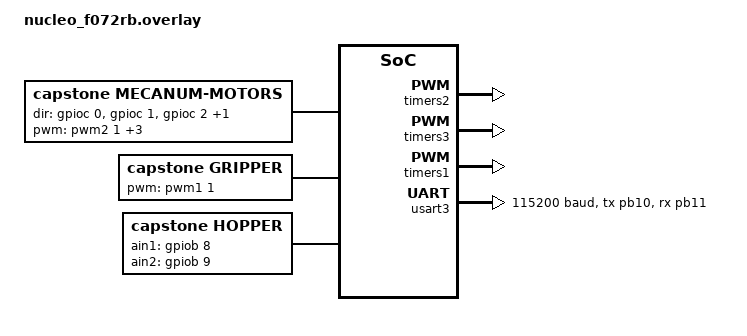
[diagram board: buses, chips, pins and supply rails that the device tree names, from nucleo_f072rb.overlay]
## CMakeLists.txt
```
cmake_minimum_required(VERSION 3.20.0)
list(APPEND DTS_ROOT ${CMAKE_CURRENT_SOURCE_DIR})
find_package(Zephyr REQUIRED HINTS $ENV{ZEPHYR_BASE})
project(capstone)
target_include_directories(app PRIVATE inc)
target_sources(app PRIVATE
 src/main.c
 src/comms.c
 src/motors.c
 src/gripper.c
 src/hopper.c
 src/servo.c
)
```

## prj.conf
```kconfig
CONFIG_SERIAL=y
CONFIG_GPIO=y
CONFIG_PWM=y
CONFIG_CONSOLE=y
CONFIG_UART_CONSOLE=y
CONFIG_UART_INTERRUPT_DRIVEN=y
CONFIG_RING_BUFFER=y
```

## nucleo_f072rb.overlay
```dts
/*
 * nucleo-f072rb: mecanum drive + gripper + hopper + arm bus
 *
 *   pwm (speed)                     dir
 *   PA0  TIM2_CH1  front-left       PC0  front-left
 *   PA1  TIM2_CH2  front-right      PC1  front-right
 *   PB0  TIM3_CH3  back-left        PC2  back-left
 *   PB1  TIM3_CH4  back-right       PC3  back-right
 *   PA8  TIM1_CH1  gripper servo
 *   PB8/PB9        hopper dir (TB6612FNG ain1/ain2)
 *   PB10/PB11      usart3 -> arm servo bus
 *
 * note: f0 has no TIM4 and PB7 has no normal pwm channel, so back-right is on
 * PB1/TIM3_CH4 (not PB7) — different from the L476/G474 versions.
 * 48 MHz core, prescaler 0 = full timer clock (20 kHz pwm = ~2400 counts).
 * board leaves these timers disabled/unlabeled, so they're set up here.
 */

#include <zephyr/dt-bindings/pwm/pwm.h>
#include <zephyr/dt-bindings/gpio/gpio.h>

&timers2 {
	st,prescaler = <0>;
	status = "okay";

	pwm2: pwm {
		status = "okay";
		pinctrl-0 = <&tim2_ch1_pa0 &tim2_ch2_pa1>;   // PA0 FL, PA1 FR
		pinctrl-names = "default";
	};
};

&timers3 {
	st,prescaler = <0>;
	status = "okay";

	pwm3: pwm {
		status = "okay";
		pinctrl-0 = <&tim3_ch3_pb0 &tim3_ch4_pb1>;   // PB0 RL, PB1 RR
		pinctrl-names = "default";
	};
};

&timers1 {
	// 16-bit timer. /48 -> 1 MHz tick, so a 20 ms servo frame = 20000 counts
	st,prescaler = <47>;
	status = "okay";

	pwm1: pwm {
		status = "okay";
		pinctrl-0 = <&tim1_ch1_pa8>;                 // PA8 gripper
		pinctrl-names = "default";
	};
};

&usart3 {
	// arm servo bus. PB10 tx / PB11 rx tied together (1k on tx) for half-duplex
	pinctrl-0 = <&usart3_tx_pb10 &usart3_rx_pb11>;
	pinctrl-names = "default";
	current-speed = <115200>;
	status = "okay";
};

/ {
	motors: motors {
		compatible = "capstone,mecanum-motors";
		// FL, FR, RL, RR
		pwms = <&pwm2 1 PWM_USEC(50) PWM_POLARITY_NORMAL>,
		       <&pwm2 2 PWM_USEC(50) PWM_POLARITY_NORMAL>,
		       <&pwm3 3 PWM_USEC(50) PWM_POLARITY_NORMAL>,
		       <&pwm3 4 PWM_USEC(50) PWM_POLARITY_NORMAL>;

		dir-gpios = <&gpioc 0 GPIO_ACTIVE_HIGH>,
			    <&gpioc 1 GPIO_ACTIVE_HIGH>,
			    <&gpioc 2 GPIO_ACTIVE_HIGH>,
			    <&gpioc 3 GPIO_ACTIVE_HIGH>;
	};

	gripper: gripper {
		compatible = "capstone,gripper";
		pwms = <&pwm1 1 PWM_USEC(20000) PWM_POLARITY_NORMAL>;   // 50 Hz frame
	};

	hopper: hopper {
		compatible = "capstone,hopper";
		// TB6612FNG channel A (PWMA + STBY tied high)
		ain1-gpios = <&gpiob 8 GPIO_ACTIVE_HIGH>;
		ain2-gpios = <&gpiob 9 GPIO_ACTIVE_HIGH>;
	};
};
```

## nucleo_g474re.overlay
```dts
/*
 * Mecanum drivetrain + gripper overlay for the Nucleo-G474RE.
 * Identical pin/timer mapping to the L476 version; only the TIM1 servo
 * prescaler differs because the G474 core runs at 170 MHz (vs 80 MHz).
 *
 *   PWM (speed)                         DIR (direction)
 *   ------------------------------      ----------------
 *   PA0  TIM2_CH1   front-left          PC0  front-left
 *   PA1  TIM2_CH2   front-right         PC1  front-right
 *   PB0  TIM3_CH3   back-left           PC2  back-left
 *   PB7  TIM4_CH2   back-right          PC3  back-right
 *   PA8  TIM1_CH1   gripper servo
 *
 * st,prescaler = 0 keeps the full 170 MHz timer clock; at the 20 kHz (50 us)
 * motor PWM period that is 8500 counts — well within the 16-bit timers.
 */

#include <zephyr/dt-bindings/pwm/pwm.h>
#include <zephyr/dt-bindings/gpio/gpio.h>

&timers2 {
	st,prescaler = <0>;
	status = "okay";

	pwm {
		status = "okay";
		/* CH1 = PA0 (front-left), CH2 = PA1 (front-right) */
		pinctrl-0 = <&tim2_ch1_pa0 &tim2_ch2_pa1>;
		pinctrl-names = "default";
	};
};

&timers3 {
	/* board default sets st,prescaler = 10000 — override for 20 kHz PWM */
	st,prescaler = <0>;
	status = "okay";

	pwm {
		status = "okay";
		/* CH3 = PB0 (back-left) */
		pinctrl-0 = <&tim3_ch3_pb0>;
		pinctrl-names = "default";
	};
};

&timers4 {
	st,prescaler = <0>;
	status = "okay";

	/* timers4 isn't enabled in the board dts, so its pwm child has no
	 * label yet — add one so &pwm4 can be referenced below. */
	pwm4: pwm {
		status = "okay";
		/* CH2 = PB7 (back-right) */
		pinctrl-0 = <&tim4_ch2_pb7>;
		pinctrl-names = "default";
	};
};

&timers1 {
	/* TIM1 is a 16-bit timer. At 170 MHz a /170 prescaler gives a 1 MHz
	 * tick, so a 20 ms (50 Hz) servo frame is 20000 counts — fits the
	 * counter and gives 1 us pulse resolution. */
	st,prescaler = <169>;
	status = "okay";

	pwm1: pwm {
		status = "okay";
		/* CH1 = PA8 (gripper servo) */
		pinctrl-0 = <&tim1_ch1_pa8>;
		pinctrl-names = "default";
	};
};

/ {
	motors: motors {
		compatible = "capstone,mecanum-motors";
		/* Order: FL, FR, RL, RR. <&controller channel period flags> */
		pwms = <&pwm2 1 PWM_USEC(50) PWM_POLARITY_NORMAL>,  /* FL  PA0 */
		       <&pwm2 2 PWM_USEC(50) PWM_POLARITY_NORMAL>,  /* FR  PA1 */
		       <&pwm3 3 PWM_USEC(50) PWM_POLARITY_NORMAL>,  /* RL  PB0 */
		       <&pwm4 2 PWM_USEC(50) PWM_POLARITY_NORMAL>;  /* RR  PB7 */

		dir-gpios = <&gpioc 0 GPIO_ACTIVE_HIGH>,  /* FL  PC0 */
			    <&gpioc 1 GPIO_ACTIVE_HIGH>,  /* FR  PC1 */
			    <&gpioc 2 GPIO_ACTIVE_HIGH>,  /* RL  PC2 */
			    <&gpioc 3 GPIO_ACTIVE_HIGH>;  /* RR  PC3 */
	};

	gripper: gripper {
		compatible = "capstone,gripper";
		/* PA8 TIM1_CH1, 20 ms (50 Hz) servo frame. */
		pwms = <&pwm1 1 PWM_USEC(20000) PWM_POLARITY_NORMAL>;
	};
};
```

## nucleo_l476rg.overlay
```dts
/*
 * Mecanum drivetrain overlay — 4 motors, 2x Cytron MDD10A (sign-magnitude).
 *
 *   PWM (speed)                         DIR (direction)
 *   ------------------------------      ----------------
 *   PA0  TIM2_CH1   front-left          PC0  front-left
 *   PA1  TIM2_CH2   front-right         PC1  front-right
 *   PB0  TIM3_CH3   back-left           PC2  back-left
 *   PB7  TIM4_CH2   back-right          PC3  back-right
 *
 * st,prescaler = 0 keeps the full 80 MHz timer clock, giving ~4000 counts of
 * resolution at the 20 kHz (50 us) PWM period used below.
 */

#include <zephyr/dt-bindings/pwm/pwm.h>
#include <zephyr/dt-bindings/gpio/gpio.h>

&timers2 {
	st,prescaler = <0>;
	status = "okay";

	pwm {
		status = "okay";
		/* CH1 = PA0 (front-left), CH2 = PA1 (front-right) */
		pinctrl-0 = <&tim2_ch1_pa0 &tim2_ch2_pa1>;
		pinctrl-names = "default";
	};
};

&timers3 {
	/* board default sets st,prescaler = 10000 — override for 20 kHz PWM */
	st,prescaler = <0>;
	status = "okay";

	pwm {
		status = "okay";
		/* CH3 = PB0 (back-left) */
		pinctrl-0 = <&tim3_ch3_pb0>;
		pinctrl-names = "default";
	};
};

&timers4 {
	st,prescaler = <0>;
	status = "okay";

	/* timers4 isn't enabled in the board dts, so its pwm child has no
	 * label yet — add one so &pwm4 can be referenced below. */
	pwm4: pwm {
		status = "okay";
		/* CH2 = PB7 (back-right) */
		pinctrl-0 = <&tim4_ch2_pb7>;
		pinctrl-names = "default";
	};
};

&timers1 {
	/* TIM1 is a 16-bit timer. A /80 prescaler gives a 1 MHz tick, so a
	 * 20 ms (50 Hz) servo frame is 20000 counts — fits the counter and
	 * gives 1 us pulse resolution. */
	st,prescaler = <79>;
	status = "okay";

	pwm1: pwm {
		status = "okay";
		/* CH1 = PA8 (gripper servo) */
		pinctrl-0 = <&tim1_ch1_pa8>;
		pinctrl-names = "default";
	};
};

/ {
	motors: motors {
		compatible = "capstone,mecanum-motors";
		/* Order: FL, FR, RL, RR. <&controller channel period flags> */
		pwms = <&pwm2 1 PWM_USEC(50) PWM_POLARITY_NORMAL>,  /* FL  PA0 */
		       <&pwm2 2 PWM_USEC(50) PWM_POLARITY_NORMAL>,  /* FR  PA1 */
		       <&pwm3 3 PWM_USEC(50) PWM_POLARITY_NORMAL>,  /* RL  PB0 */
		       <&pwm4 2 PWM_USEC(50) PWM_POLARITY_NORMAL>;  /* RR  PB7 */

		dir-gpios = <&gpioc 0 GPIO_ACTIVE_HIGH>,  /* FL  PC0 */
			    <&gpioc 1 GPIO_ACTIVE_HIGH>,  /* FR  PC1 */
			    <&gpioc 2 GPIO_ACTIVE_HIGH>,  /* RL  PC2 */
			    <&gpioc 3 GPIO_ACTIVE_HIGH>;  /* RR  PC3 */
	};

	gripper: gripper {
		compatible = "capstone,gripper";
		/* PA8 TIM1_CH1, 20 ms (50 Hz) servo frame. */
		pwms = <&pwm1 1 PWM_USEC(20000) PWM_POLARITY_NORMAL>;
	};
};
```

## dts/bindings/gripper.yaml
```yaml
description: gripper servo on a single pwm channel

compatible: "capstone,gripper"

properties:
  pwms:
    type: phandle-array
    required: true
    description: servo signal pwm
```

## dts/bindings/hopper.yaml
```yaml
description: linear actuator (hopper) on a TB6612FNG, PWMA + STBY tied high

compatible: "capstone,hopper"

properties:
  ain1-gpios:
    type: phandle-array
    required: true
    description: TB6612FNG ain1 direction input
  ain2-gpios:
    type: phandle-array
    required: true
    description: TB6612FNG ain2 direction input
```

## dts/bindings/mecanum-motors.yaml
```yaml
description: mecanum drivetrain — 4 wheel pwm channels + dir gpios, FL FR RL RR order

compatible: "capstone,mecanum-motors"

properties:
  pwms:
    type: phandle-array
    required: true
    description: speed pwm per wheel (FL, FR, RL, RR)
  dir-gpios:
    type: phandle-array
    required: true
    description: direction gpio per wheel (FL, FR, RL, RR)
```

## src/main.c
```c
#include <zephyr/kernel.h>
#include <zephyr/drivers/uart.h>
#include <zephyr/device.h>
#include <math.h>
#include <stdlib.h>
#include "comms.h"
#include "motors.h"
#include "gripper.h"
#include "hopper.h"
#include "servo.h"

// pick a test mode (or TEST_NONE for normal uart operation)
#define TEST_NONE     0   // uart-driven
#define TEST_DRIVE    1   // mecanum demo
#define TEST_GRIPPER  2   // gripper open/close
#define TEST_HOPPER   3   // actuator extend/retract
#define TEST_ARM      4   // interactive: set arm angles over serial
#define TEST_SET_ID   5   // assign an id to a single connected servo
#define TEST_SWAP_ID  6   // swap two ids on the chain
#define TEST_DEMO     7   // full pick-and-drop + hopper routine

#define TEST_MODE     TEST_NONE

// TEST_SET_ID: id to assign. connect exactly one servo, flash, repeat per servo
#define SET_ID_TARGET  SERVO_ID_WRIST

// TEST_SWAP_ID: swap these two, routed through a temp id so no collision
#define SWAP_ID_A      SERVO_ID_ELBOW
#define SWAP_ID_B      SERVO_ID_WRIST
#define SWAP_ID_TEMP   10

#define DRIVE_SPEED            100    // TEST_DRIVE wheel speed 0..100
#define HOPPER_TEST_TRAVEL_MS 3000    // hopper drive time per direction
#define HOPPER_TEST_PAUSE_MS  2000

#if TEST_MODE == TEST_DRIVE

int main(void)
{
    if (motors_init() != 0) {
        printk("motors_init failed\n");
        return 0;
    }

    printk("drive: backward 2s\n");
    mecanum_drive(-DRIVE_SPEED, 0, 0);
    k_msleep(2000);
    motor_stop_all();
    return 0;
}

#elif TEST_MODE == TEST_GRIPPER

#define OPEN_POSITION 10   // open
#define GRAB_POSITION 30   // grab (closed)

int main(void)
{
    if (gripper_init() != 0) {
        printk("gripper_init failed\n");
        return 0;
    }

    printk("gripper: open\n");
    gripper_set(OPEN_POSITION);
    k_msleep(1500);

    printk("gripper: grab at %d\n", GRAB_POSITION);
    gripper_set(GRAB_POSITION);
    return 0;
}

#elif TEST_MODE == TEST_HOPPER

int main(void)
{
    if (hopper_init() != 0) {
        printk("hopper_init failed\n");
        return 0;
    }

    printk("hopper: lower (retract)\n");
    hopper_retract();
    k_msleep(HOPPER_TEST_TRAVEL_MS);
    hopper_stop();
    return 0;
}

#elif TEST_MODE == TEST_ARM

// interactive arm angle setter over the serial console. starts all three at
// center (120), then type "<id 1-3> <deg>" (e.g. "2 124.5") to move one joint,
// or "c" to recenter. moves are slow so a fat-finger won't slam the arm.
static const struct device *const cons = DEVICE_DT_GET(DT_CHOSEN(zephyr_console));

#define SET_MOVE_MS 800

static void read_line(char *buf, int max)
{
    int i = 0;
    while (1) {
        uint8_t c;
        if (uart_poll_in(cons, &c) == 0) {
            if (c == '\r' || c == '\n') {
                if (i > 0) { buf[i] = '\0'; return; }
            } else if ((c == 0x08 || c == 0x7f) && i > 0) {
                i--;                          // backspace
            } else if (i < max - 1) {
                buf[i++] = c;
            }
        } else {
            k_msleep(2);
        }
    }
}

static void arm_goto(uint8_t id, float deg)
{
    servo_move(id, deg, SET_MOVE_MS);
    int t = (int)(deg * 10.0f);              // %f isn't enabled
    printk("servo %u -> %d.%d deg\n", id, t / 10, (t < 0 ? -t : t) % 10);
}

int main(void)
{
    if (servo_init() != 0) {
        printk("servo_init failed\n");
        return 0;
    }

    servo_set_torque(SERVO_ID_SHOULDER, true);
    servo_set_torque(SERVO_ID_ELBOW, true);
    servo_set_torque(SERVO_ID_WRIST, true);

    arm_goto(SERVO_ID_SHOULDER, 120.0f);     // start from center
    arm_goto(SERVO_ID_ELBOW,    120.0f);
    arm_goto(SERVO_ID_WRIST,    120.0f);

    printk("\narm angle setter — type \"<id 1-3> <deg>\" (e.g. \"2 124.5\"), or \"c\" to center\n");

    char line[32];
    while (1) {
        read_line(line, sizeof(line));

        if (line[0] == 'c') {
            arm_goto(SERVO_ID_SHOULDER, 120.0f);
            arm_goto(SERVO_ID_ELBOW,    120.0f);
            arm_goto(SERVO_ID_WRIST,    120.0f);
            continue;
        }

        char *end;
        long id = strtol(line, &end, 10);
        if (end == line || id < 1 || id > 3) {
            printk("? use \"<id 1-3> <deg>\" or \"c\"\n");
            continue;
        }
        arm_goto((uint8_t)id, (float)strtod(end, NULL));
    }
}

#elif TEST_MODE == TEST_SET_ID

int main(void)
{
    if (servo_init() != 0) {
        printk("servo_init failed\n");
        return 0;
    }

    printk("\n=== set servo id -> %d (one servo connected) ===\n", SET_ID_TARGET);

    // broadcast works at any current id, but hits every servo — hence one at a time
    servo_set_id(SERVO_ID_BROADCAST, SET_ID_TARGET);
    k_msleep(100);

    // confirm it answers at the new id
    float deg = servo_read_pos(SET_ID_TARGET);
    if (isnan(deg)) {
        printk("readback failed at id %d — exactly one servo connected?\n",
               SET_ID_TARGET);
    } else {
        printk("ok: servo answers at id %d (%d deg)\n", SET_ID_TARGET, (int)deg);
    }

    while (1) {
        k_msleep(1000);
    }
}

#elif TEST_MODE == TEST_SWAP_ID

int main(void)
{
    if (servo_init() != 0) {
        printk("servo_init failed\n");
        return 0;
    }

    printk("\n=== swap servo ids %d <-> %d ===\n", SWAP_ID_A, SWAP_ID_B);

    // route through a temp id so no two servos ever share an address
    servo_set_id(SWAP_ID_A, SWAP_ID_TEMP);
    k_msleep(100);
    servo_set_id(SWAP_ID_B, SWAP_ID_A);
    k_msleep(100);
    servo_set_id(SWAP_ID_TEMP, SWAP_ID_B);
    k_msleep(100);

    printk("id %d: %s\n", SWAP_ID_A,
           isnan(servo_read_pos(SWAP_ID_A)) ? "no response" : "ok");
    printk("id %d: %s\n", SWAP_ID_B,
           isnan(servo_read_pos(SWAP_ID_B)) ? "no response" : "ok");

    while (1) {
        k_msleep(1000);
    }
}

#elif TEST_MODE == TEST_DEMO

// drive demo — the arm is never touched. strafe out and back to center in all
// 8 directions, tip the hopper, cycle the gripper, then a rotate flourish.
#define DEMO_SPEED       100
#define OUT_MS           800     // strafe out (and back) duration
#define GRIP_OPEN        10
#define GRIP_CLOSED      30
#define GRIP_MS          800
#define SPIN_MS_PER_DEG  25      // at DEMO_SPEED 100 (180 deg = 4500 ms)

// arm start pose — set once, then left untouched. shoulder/elbow/wrist
#define ARM_S  130.0f
#define ARM_E  200.0f
#define ARM_W   90.0f

// drive a vector out for OUT_MS, then the reverse to return to center
static void out_back(int vx, int vy)
{
    mecanum_drive(vx, vy, 0);
    k_msleep(OUT_MS);
    motor_stop_all();
    k_msleep(400);
    mecanum_drive(-vx, -vy, 0);
    k_msleep(OUT_MS);
    motor_stop_all();
    k_msleep(600);
}

// spin in place: dir +1 = ccw, -1 = cw
static void spin_deg(int dir, int deg)
{
    mecanum_drive(0, 0, dir * DEMO_SPEED);
    k_msleep(deg * SPIN_MS_PER_DEG);
    motor_stop_all();
    k_msleep(400);
}

int main(void)
{
    motors_init();
    gripper_init();
    hopper_init();

    const int S = DEMO_SPEED;

    printk("\n=== drive demo ===\n");

    // set the arm to its start pose (then leave it), and close the hopper
    printk("reset: arm + hopper\n");
    servo_init();
    servo_set_torque(SERVO_ID_SHOULDER, true);
    servo_set_torque(SERVO_ID_ELBOW, true);
    servo_set_torque(SERVO_ID_WRIST, true);
    hopper_retract();                       // close the hopper while the arm moves
    servo_move(SERVO_ID_SHOULDER, ARM_S, 1500);
    servo_move(SERVO_ID_ELBOW,    ARM_E, 1500);
    servo_move(SERVO_ID_WRIST,    ARM_W, 1500);
    k_msleep(2000);
    hopper_stop();

    // hold before the demo begins
    printk("starting in 5s...\n");
    k_msleep(5000);

    // 8 directions, each out then back to center
    printk("forward\n");    out_back( S,  0);
    printk("backward\n");   out_back(-S,  0);
    printk("left\n");       out_back( 0,  S);
    printk("right\n");      out_back( 0, -S);
    printk("fwd-left\n");   out_back( S,  S);
    printk("fwd-right\n");  out_back( S, -S);
    printk("back-left\n");  out_back(-S,  S);
    printk("back-right\n"); out_back(-S, -S);

    // tip the hopper, then bring it back
    printk("tip hopper\n");
    hopper_extend();
    k_msleep(HOPPER_TEST_TRAVEL_MS);
    hopper_stop();
    k_msleep(HOPPER_TEST_PAUSE_MS);
    hopper_retract();
    k_msleep(HOPPER_TEST_TRAVEL_MS);
    hopper_stop();
    k_msleep(HOPPER_TEST_PAUSE_MS);

    // open and close the gripper
    printk("gripper open\n");
    gripper_set(GRIP_OPEN);
    k_msleep(GRIP_MS + 600);
    printk("gripper close\n");
    gripper_set(GRIP_CLOSED);
    k_msleep(GRIP_MS + 600);

    // rotate: cw 30, ccw 60, cw 30 -> back to center
    printk("rotate cw 30\n");   spin_deg(-1, 30);
    printk("rotate ccw 60\n");  spin_deg(+1, 60);
    printk("rotate cw 30\n");   spin_deg(-1, 30);

    printk("--- demo complete ---\n");
    return 0;
}

#else  // TEST_NONE — normal uart operation

int main(void)
{
    motors_init();
    gripper_init();
    hopper_init();
    servo_init();
    uart_init();

    printk("\n=== uart command mode ===\n");

    while (1) {
        uart_tick();
        hopper_tick();
        k_msleep(1);
    }
}

#endif
```

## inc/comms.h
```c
#ifndef COMMS_H
#define COMMS_H
#define DRIVE_WATCHDOG_MS 500u

void uart_init(void);
void uart_tick(void);


#endif /* COMMS_H */
```

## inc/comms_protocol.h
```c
#ifndef COMMS_PROTOCOL_H
#define COMMS_PROTOCOL_H

#include <stdint.h>

// uart frame: [0xAA][0x55][cmd][len][payload... len bytes][chk]
// chk = xor of cmd, len, and every payload byte. multi-byte fields little-endian

#define PKT_HEADER_0  0xAAu
#define PKT_HEADER_1  0x55u

// jetson -> stm32
#define CMD_DRIVE     0x01u   // 8B: 4x int16 wheel speed FL FR RL RR, +/-1000
#define CMD_GRIPPER   0x03u   // 1B: position 0..100
#define CMD_HOPPER    0x04u   // 1B: 0 stop / 1 extend / 2 retract
#define CMD_ARM       0x05u   // 8B: 3x int16 angle (tenths-deg) + uint16 time_ms

// stm32 -> jetson
#define CMD_ODOM      0x02u   // 16B: 4x int32 encoder ticks

#define DRIVE_PAYLOAD_LEN    8u
#define GRIPPER_PAYLOAD_LEN  1u
#define HOPPER_PAYLOAD_LEN   1u
#define ARM_PAYLOAD_LEN      8u
#define ODOM_PAYLOAD_LEN     16u

#define RX_MAX_PAYLOAD       16u
#define ODOM_PKT_LEN         (2u + 1u + 1u + ODOM_PAYLOAD_LEN + 1u)   // 21

// hopper actions
#define HOPPER_ACT_STOP     0u
#define HOPPER_ACT_EXTEND   1u
#define HOPPER_ACT_RETRACT  2u

// drive speed is +/-1000 on the wire, +/-100 in the firmware
#define DRIVE_SPEED_FULL    1000

#endif /* COMMS_PROTOCOL_H */
```

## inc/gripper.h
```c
#ifndef GRIPPER_H
#define GRIPPER_H

// configure the servo pwm, leave it idle. 0 ok, <0 errno
int gripper_init(void);

// position 0..100, lower = more open. clamped to the calibrated travel band
void gripper_set(int position);

// sweep open <-> closed within the limits. call in a loop
void gripper_test(void);

#endif /* GRIPPER_H */
```

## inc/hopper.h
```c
#ifndef HOPPER_H
#define HOPPER_H

// linear actuator (hopper) on one channel of a TB6612FNG. PA-MC1, 12V, full
// voltage only (no pwm), internal limit switches so no stall. PWMA + STBY tied
// high, only AIN1/AIN2 driven. no feedback, so a move runs for a fixed timeout
// then the pins are released — extend/retract arm it, hopper_tick enforces it

int hopper_init(void);      // configure dir pins, leave stopped. 0 ok, <0 errno

void hopper_extend(void);   // ain1 high, ain2 low
void hopper_retract(void);  // ain1 low,  ain2 high
void hopper_stop(void);     // both low

void hopper_tick(void);     // call periodically to enforce the move timeout

#endif /* HOPPER_H */
```

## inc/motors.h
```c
#ifndef MOTORS_H
#define MOTORS_H

#include <stdint.h>

// wheel order matches the comms protocol: 0=FL, 1=FR, 2=RL, 3=RR
typedef enum {
    MOTOR_FL = 0,
    MOTOR_FR = 1,
    MOTOR_RL = 2,
    MOTOR_RR = 3,
    MOTOR_COUNT = 4,
} motor_id_t;

// configure pwm + dir pins, leave all stopped. 0 ok, <0 errno
int motors_init(void);

// sign-magnitude: speed -100..100, sign -> dir pin, magnitude -> duty. clamped
void motor_set(motor_id_t motor, int speed);

void motor_set_all(int fl, int fr, int rl, int rr);
void motor_stop_all(void);

// mecanum inverse kinematics. vx fwd, vy strafe-left, omega ccw, all -100..100.
// scaled down proportionally if any wheel would exceed full scale
void mecanum_drive(int vx, int vy, int omega);

#endif /* MOTORS_H */
```

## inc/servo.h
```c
#ifndef SERVO_H
#define SERVO_H

#include <stdint.h>
#include <stdbool.h>

// hiwonder HTD-45H bus servos, daisy-chained on usart3 (half-duplex, 115200).
// the three arm joints (planar arm: shoulder -> elbow -> wrist):
#define SERVO_ID_SHOULDER  1
#define SERVO_ID_ELBOW     2
#define SERVO_ID_WRIST     3

// broadcast: every servo obeys, none reply. only use with one servo connected
#define SERVO_ID_BROADCAST 0xFEu

int servo_init(void);   // bring up the bus uart (irq rx). 0 ok, <0 errno

// build + send: 0x55 0x55 id len cmd params... checksum. handles checksum and
// swallows the tx echo. params may be NULL when param_len is 0
void servo_send(uint8_t id, uint8_t cmd, uint8_t *params, uint8_t param_len);

void  servo_move(uint8_t id, float angle_deg, uint16_t time_ms);       // cmd 1
void  servo_move_wait(uint8_t id, float angle_deg, uint16_t time_ms);  // cmd 7
void  servo_move_start(uint8_t id);                                    // cmd 11
void  servo_stop(uint8_t id);                                          // cmd 12
void  servo_set_torque(uint8_t id, bool enable);                       // cmd 31
void  servo_set_id(uint8_t id, uint8_t new_id);                        // cmd 13

// degrees, can be negative. NAN on no/bad response. cmd 28
float servo_read_pos(uint8_t id);

#endif /* SERVO_H */
```

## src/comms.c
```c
#include "comms.h"
#include "comms_protocol.h"
#include "motors.h"
#include "gripper.h"
#include "hopper.h"
#include "servo.h"
#include <zephyr/drivers/uart.h>
#include <zephyr/device.h>
#include <zephyr/kernel.h>
#include <string.h>

typedef enum {
    RX_WAIT_H0,
    RX_WAIT_H1,
    RX_WAIT_CMD,
    RX_WAIT_LEN,
    RX_RECV_DATA,
    RX_WAIT_CHK,
} RxState;

static const struct device *uart_dev;

static RxState rx_state = RX_WAIT_H0;
static uint8_t rx_cmd;
static uint8_t rx_len;
static uint8_t rx_buf[RX_MAX_PAYLOAD];
static uint8_t rx_idx;

// the isr only parses framing. a finished packet is stashed here and applied
// in uart_tick (thread context) — the arm servo bus does blocking uart i/o
// that must not run in an isr
static volatile bool pkt_ready;
static uint8_t pkt_cmd;
static uint8_t pkt_len;
static uint8_t pkt_buf[RX_MAX_PAYLOAD];

static uint32_t last_drive_ms;
static uint32_t last_odom_ms;

// status / debug (console = usart2 / st-link vcp)
static volatile uint32_t dbg_rx_bytes;
static volatile uint32_t dbg_pkt_ok;
static volatile uint32_t dbg_pkt_bad;
static uint32_t last_dbg_ms;
static int      last_drive[4];      // last wheel cmd, for change-only logging
static bool     link_lost = true;   // drive watchdog state (start stopped)

static void uart_rx_callback(const struct device *dev, void *user_data);
static void uart_output(void);

static bool cmd_known(uint8_t cmd)
{
    return cmd == CMD_DRIVE || cmd == CMD_GRIPPER ||
           cmd == CMD_HOPPER || cmd == CMD_ARM;
}

void uart_init(void)
{
    uart_dev = DEVICE_DT_GET(DT_NODELABEL(usart1));
    if (!device_is_ready(uart_dev)) {
        return;
    }
    uart_irq_callback_user_data_set(uart_dev, uart_rx_callback, NULL);
    uart_irq_rx_enable(uart_dev);
}

// isr: parse framing only, hand a finished packet to uart_tick
static void uart_rx_callback(const struct device *dev, void *user_data)
{
    if (!uart_irq_update(dev)) return;
    if (!uart_irq_rx_ready(dev)) return;

    uint8_t b;
    uart_fifo_read(dev, &b, 1);
    dbg_rx_bytes++;

    switch (rx_state) {
    case RX_WAIT_H0:
        if (b == PKT_HEADER_0) rx_state = RX_WAIT_H1;
        break;

    case RX_WAIT_H1:
        rx_state = (b == PKT_HEADER_1) ? RX_WAIT_CMD : RX_WAIT_H0;
        break;

    case RX_WAIT_CMD:
        if (cmd_known(b)) {
            rx_cmd = b;
            rx_state = RX_WAIT_LEN;
        } else {
            rx_state = RX_WAIT_H0;
        }
        break;

    case RX_WAIT_LEN:
        if (b > RX_MAX_PAYLOAD) {
            rx_state = RX_WAIT_H0;
        } else {
            rx_len = b;
            rx_idx = 0;
            rx_state = (b == 0) ? RX_WAIT_CHK : RX_RECV_DATA;
        }
        break;

    case RX_RECV_DATA:
        rx_buf[rx_idx++] = b;
        if (rx_idx >= rx_len) rx_state = RX_WAIT_CHK;
        break;

    case RX_WAIT_CHK: {
        uint8_t chk = rx_cmd ^ rx_len;
        for (uint8_t i = 0; i < rx_len; i++) chk ^= rx_buf[i];
        if (chk == b) {
            dbg_pkt_ok++;
            if (!pkt_ready) {           // drop if the last packet isn't consumed
                pkt_cmd = rx_cmd;
                pkt_len = rx_len;
                memcpy(pkt_buf, rx_buf, rx_len);
                pkt_ready = true;
            }
        } else {
            dbg_pkt_bad++;
        }
        rx_state = RX_WAIT_H0;
        break;
    }
    }
}

static int16_t le16(const uint8_t *p)
{
    return (int16_t)((uint16_t)p[0] | ((uint16_t)p[1] << 8));
}

static uint16_t leu16(const uint8_t *p)
{
    return (uint16_t)p[0] | ((uint16_t)p[1] << 8);
}

// thread context (called from uart_tick) — blocking calls are fine here
static void apply_packet(uint8_t cmd, const uint8_t *p, uint8_t len)
{
    switch (cmd) {
    case CMD_DRIVE: {
        if (len != DRIVE_PAYLOAD_LEN) break;
        int w[4] = { le16(p) / 10, le16(p + 2) / 10,        // +/-1000 -> +/-100
                     le16(p + 4) / 10, le16(p + 6) / 10 };
        motor_set_all(w[0], w[1], w[2], w[3]);
        last_drive_ms = k_uptime_get_32();
        if (link_lost) {
            link_lost = false;
            printk("[comms] drive link up\n");
        }
        // log only when the command changes (the jetson streams at 20 Hz)
        if (memcmp(w, last_drive, sizeof(w)) != 0) {
            memcpy(last_drive, w, sizeof(w));
            if (!w[0] && !w[1] && !w[2] && !w[3]) {
                printk("[comms] drive  stop\n");
            } else {
                printk("[comms] drive  FL=%d FR=%d RL=%d RR=%d\n",
                       w[0], w[1], w[2], w[3]);
            }
        }
        break;
    }

    case CMD_GRIPPER:
        if (len != GRIPPER_PAYLOAD_LEN) break;
        gripper_set(p[0]);
        printk("[comms] gripper -> %u  (%s)\n", p[0],
               p[0] <= 15 ? "open" : "close");
        break;

    case CMD_HOPPER:
        if (len != HOPPER_PAYLOAD_LEN) break;
        if (p[0] == HOPPER_ACT_EXTEND)       { hopper_extend();  printk("[comms] hopper -> extend\n"); }
        else if (p[0] == HOPPER_ACT_RETRACT) { hopper_retract(); printk("[comms] hopper -> retract\n"); }
        else                                 { hopper_stop();    printk("[comms] hopper -> stop\n"); }
        break;

    case CMD_ARM: {
        if (len != ARM_PAYLOAD_LEN) break;
        uint16_t t = leu16(p + 6);
        int s = le16(p), e = le16(p + 2), w = le16(p + 4);   // tenths of a degree
        servo_move(SERVO_ID_SHOULDER, s / 10.0f, t);
        servo_move(SERVO_ID_ELBOW,    e / 10.0f, t);
        servo_move(SERVO_ID_WRIST,    w / 10.0f, t);
        printk("[comms] arm -> shoulder=%d elbow=%d wrist=%d deg  (%ums)\n",
               s / 10, e / 10, w / 10, t);
        break;
    }
    }
}

static void uart_output(void)
{
    uint8_t pkt[ODOM_PKT_LEN];
    pkt[0] = PKT_HEADER_0;
    pkt[1] = PKT_HEADER_1;
    pkt[2] = CMD_ODOM;
    pkt[3] = ODOM_PAYLOAD_LEN;

    int32_t counts[4] = {0, 0, 0, 0};   // placeholder until encoders are wired
    memcpy(&pkt[4], counts, ODOM_PAYLOAD_LEN);

    uint8_t chk = CMD_ODOM ^ ODOM_PAYLOAD_LEN;
    for (uint8_t i = 0; i < ODOM_PAYLOAD_LEN; i++) chk ^= pkt[4 + i];
    pkt[ODOM_PKT_LEN - 1] = chk;

    for (int i = 0; i < ODOM_PKT_LEN; i++) {
        uart_poll_out(uart_dev, pkt[i]);
    }
}

void uart_tick(void)
{
    // apply a packet the isr finished parsing
    if (pkt_ready) {
        uint8_t cmd = pkt_cmd;
        uint8_t len = pkt_len;
        uint8_t buf[RX_MAX_PAYLOAD];
        memcpy(buf, pkt_buf, len);
        pkt_ready = false;          // release the slot for the next packet
        apply_packet(cmd, buf, len);
    }

    uint32_t now = k_uptime_get_32();

    // status heartbeat every 2s — link state + packet tally
    if ((now - last_dbg_ms) >= 2000u) {
        last_dbg_ms = now;
        printk("[comms] link %s  rx=%uB pkts=%u bad=%u\n",
               link_lost ? "IDLE" : "ok", dbg_rx_bytes, dbg_pkt_ok, dbg_pkt_bad);
    }

    // drive watchdog — stop the wheels if no drive command in 500ms
    if ((now - last_drive_ms) >= DRIVE_WATCHDOG_MS) {
        if (!link_lost) {
            link_lost = true;
            motor_stop_all();
            printk("[comms] drive watchdog: no command 500ms -> motors stopped\n");
        }
    }

    // odom at 50 Hz
    if ((now - last_odom_ms) >= 20u) {
        last_odom_ms = now;
        uart_output();
    }
}
```

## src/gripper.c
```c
#include "gripper.h"

#include <zephyr/drivers/pwm.h>
#include <zephyr/dt-bindings/pwm/pwm.h>
#include <zephyr/kernel.h>

#define GRIPPER_NODE DT_NODELABEL(gripper)

static const struct pwm_dt_spec servo = PWM_DT_SPEC_GET(GRIPPER_NODE);

// 500..2500us pulse spans the full 0..270 deg travel. position 0..100 maps
// linearly across it
#define SERVO_MIN_PULSE_NS  PWM_USEC(500)
#define SERVO_MAX_PULSE_NS  PWM_USEC(2500)

// measured mechanical limits on the 0..100 scale (lower = more open). gripper
// binds past these, so positions are hard-clamped to the band
#define GRIPPER_OPEN    10
#define GRIPPER_CLOSED  30

int gripper_init(void)
{
    if (!pwm_is_ready_dt(&servo)) {
        return -ENODEV;
    }
    // don't command a position here — caller drives it, no startup jump
    return 0;
}

void gripper_set(int position)
{
    if (position < GRIPPER_OPEN) {
        position = GRIPPER_OPEN;
    } else if (position > GRIPPER_CLOSED) {
        position = GRIPPER_CLOSED;
    }

    uint32_t span  = SERVO_MAX_PULSE_NS - SERVO_MIN_PULSE_NS;
    uint32_t pulse = SERVO_MIN_PULSE_NS + (span * (uint32_t)position) / 100u;
    pwm_set_pulse_dt(&servo, pulse);
}

void gripper_test(void)
{
    printk("gripper: open\n");
    gripper_set(GRIPPER_OPEN);
    k_msleep(1200);

    printk("gripper: closing\n");
    for (int p = GRIPPER_OPEN; p <= GRIPPER_CLOSED; p += 2) {
        gripper_set(p);
        k_msleep(60);
    }
    printk("gripper: closed\n");
    k_msleep(1200);

    printk("gripper: opening\n");
    for (int p = GRIPPER_CLOSED; p >= GRIPPER_OPEN; p -= 2) {
        gripper_set(p);
        k_msleep(60);
    }
    k_msleep(1200);
}
```

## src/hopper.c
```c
#include "hopper.h"

#include <zephyr/drivers/gpio.h>
#include <zephyr/kernel.h>

#define HOPPER_NODE DT_NODELABEL(hopper)

// long enough to reach the limit switch with margin. this short-throw unit
// fully travels in ~2s, well under its 2-min on-time duty limit
#define HOPPER_TRAVEL_MS  3000u

static const struct gpio_dt_spec ain1 = GPIO_DT_SPEC_GET(HOPPER_NODE, ain1_gpios);
static const struct gpio_dt_spec ain2 = GPIO_DT_SPEC_GET(HOPPER_NODE, ain2_gpios);

static bool     moving;
static uint32_t move_start;

int hopper_init(void)
{
    if (!gpio_is_ready_dt(&ain1) || !gpio_is_ready_dt(&ain2)) {
        return -ENODEV;
    }

    int ret = gpio_pin_configure_dt(&ain1, GPIO_OUTPUT_INACTIVE);
    if (ret < 0) {
        return ret;
    }
    ret = gpio_pin_configure_dt(&ain2, GPIO_OUTPUT_INACTIVE);
    if (ret < 0) {
        return ret;
    }

    moving = false;
    return 0;
}

void hopper_extend(void)
{
    gpio_pin_set_dt(&ain1, 1);
    gpio_pin_set_dt(&ain2, 0);
    move_start = k_uptime_get_32();
    moving = true;
}

void hopper_retract(void)
{
    gpio_pin_set_dt(&ain1, 0);
    gpio_pin_set_dt(&ain2, 1);
    move_start = k_uptime_get_32();
    moving = true;
}

void hopper_stop(void)
{
    gpio_pin_set_dt(&ain1, 0);
    gpio_pin_set_dt(&ain2, 0);
    moving = false;
}

void hopper_tick(void)
{
    if (moving && (k_uptime_get_32() - move_start) >= HOPPER_TRAVEL_MS) {
        hopper_stop();
    }
}
```

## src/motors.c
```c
#include "motors.h"

#include <zephyr/drivers/pwm.h>
#include <zephyr/drivers/gpio.h>
#include <zephyr/kernel.h>
#include <stdlib.h>

#define MOTORS_NODE DT_NODELABEL(motors)

// pwm channels, indexed by motor_id_t (period set in the overlay)
static const struct pwm_dt_spec motor_pwm[MOTOR_COUNT] = {
    PWM_DT_SPEC_GET_BY_IDX(MOTORS_NODE, 0),
    PWM_DT_SPEC_GET_BY_IDX(MOTORS_NODE, 1),
    PWM_DT_SPEC_GET_BY_IDX(MOTORS_NODE, 2),
    PWM_DT_SPEC_GET_BY_IDX(MOTORS_NODE, 3),
};

// dir pins, indexed by motor_id_t
static const struct gpio_dt_spec motor_dir[MOTOR_COUNT] = {
    GPIO_DT_SPEC_GET_BY_IDX(MOTORS_NODE, dir_gpios, 0),
    GPIO_DT_SPEC_GET_BY_IDX(MOTORS_NODE, dir_gpios, 1),
    GPIO_DT_SPEC_GET_BY_IDX(MOTORS_NODE, dir_gpios, 2),
    GPIO_DT_SPEC_GET_BY_IDX(MOTORS_NODE, dir_gpios, 3),
};

// per-wheel direction. all four were reversed vs the kinematics convention
// (whole robot drove backwards), so the left/right sense is flipped from the
// naive mirror. flip an entry if a single wheel spins the wrong way
static const bool motor_invert[MOTOR_COUNT] = {
    true,   // FL
    false,  // FR
    true,   // RL
    false,  // RR
};

int motors_init(void)
{
    for (int i = 0; i < MOTOR_COUNT; i++) {
        if (!pwm_is_ready_dt(&motor_pwm[i])) {
            return -ENODEV;
        }
        if (!gpio_is_ready_dt(&motor_dir[i])) {
            return -ENODEV;
        }

        int ret = gpio_pin_configure_dt(&motor_dir[i], GPIO_OUTPUT_INACTIVE);
        if (ret < 0) {
            return ret;
        }

        ret = pwm_set_pulse_dt(&motor_pwm[i], 0);   // start stopped
        if (ret < 0) {
            return ret;
        }
    }
    return 0;
}

void motor_set(motor_id_t motor, int speed)
{
    if (motor >= MOTOR_COUNT) {
        return;
    }

    if (speed > 100) {
        speed = 100;
    } else if (speed < -100) {
        speed = -100;
    }

    bool forward = (speed >= 0);
    if (motor_invert[motor]) {
        forward = !forward;
    }
    gpio_pin_set_dt(&motor_dir[motor], forward ? 1 : 0);

    uint32_t mag   = (uint32_t)abs(speed);                   // 0..100
    uint32_t pulse = (motor_pwm[motor].period * mag) / 100u;
    pwm_set_pulse_dt(&motor_pwm[motor], pulse);
}

void motor_set_all(int fl, int fr, int rl, int rr)
{
    motor_set(MOTOR_FL, fl);
    motor_set(MOTOR_FR, fr);
    motor_set(MOTOR_RL, rl);
    motor_set(MOTOR_RR, rr);
}

void motor_stop_all(void)
{
    for (int i = 0; i < MOTOR_COUNT; i++) {
        pwm_set_pulse_dt(&motor_pwm[i], 0);
    }
}

void mecanum_drive(int vx, int vy, int omega)
{
    // rollers at +/-45 deg. vy strafe-left positive, omega ccw positive
    int w[MOTOR_COUNT];
    w[MOTOR_FL] = vx - vy - omega;
    w[MOTOR_FR] = vx + vy + omega;
    w[MOTOR_RL] = vx + vy - omega;
    w[MOTOR_RR] = vx - vy + omega;

    // scale all wheels down by the same factor if any exceeds full scale,
    // so direction is kept instead of clipped
    int maxmag = 100;
    for (int i = 0; i < MOTOR_COUNT; i++) {
        int m = abs(w[i]);
        if (m > maxmag) {
            maxmag = m;
        }
    }

    for (int i = 0; i < MOTOR_COUNT; i++) {
        motor_set((motor_id_t)i, (w[i] * 100) / maxmag);
    }
}
```

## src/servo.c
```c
#include "servo.h"

#include <zephyr/device.h>
#include <zephyr/drivers/uart.h>
#include <zephyr/kernel.h>
#include <zephyr/sys/ring_buffer.h>
#include <math.h>

#define SERVO_UART_NODE DT_NODELABEL(usart3)

#define SERVO_HEADER  0x55u

#define CMD_MOVE         1u
#define CMD_MOVE_WAIT    7u
#define CMD_MOVE_START   11u
#define CMD_MOVE_STOP    12u
#define CMD_SET_ID       13u
#define CMD_POS_READ     28u
#define CMD_LOAD_UNLOAD  31u

// 0..240 deg <-> 0..1000 ticks
#define DEG_TO_TICKS(d)  ((int)((d) * 1000.0f / 240.0f))
#define TICKS_TO_DEG(t)  ((t) * 240.0f / 1000.0f)

#define RX_BYTE_TIMEOUT_MS  50   // one byte at 115200 is ~87us; generous

static const struct device *const uart = DEVICE_DT_GET(SERVO_UART_NODE);

// isr fills, thread drains (single producer / single consumer)
RING_BUF_DECLARE(servo_rx_rb, 64);

static void servo_rx_isr(const struct device *dev, void *user_data)
{
    ARG_UNUSED(user_data);

    if (!uart_irq_update(dev)) {
        return;
    }
    uint8_t b;
    while (uart_irq_rx_ready(dev)) {
        if (uart_fifo_read(dev, &b, 1) == 1) {
            ring_buf_put(&servo_rx_rb, &b, 1);
        }
    }
}

int servo_init(void)
{
    if (!device_is_ready(uart)) {
        return -ENODEV;
    }

    uart_irq_rx_disable(uart);
    uart_irq_callback_user_data_set(uart, servo_rx_isr, NULL);
    uart_irq_rx_enable(uart);
    return 0;
}

// one byte from the rx ring buffer, waiting up to RX_BYTE_TIMEOUT_MS
static int rx_byte(uint8_t *b)
{
    uint32_t start = k_uptime_get_32();

    do {
        if (ring_buf_get(&servo_rx_rb, b, 1) == 1) {
            return 0;
        }
        k_busy_wait(100);
    } while ((k_uptime_get_32() - start) < RX_BYTE_TIMEOUT_MS);

    return -ETIMEDOUT;
}

void servo_send(uint8_t id, uint8_t cmd, uint8_t *params, uint8_t param_len)
{
    uint8_t buf[16];
    uint8_t len = param_len + 3u;   // len = num_params + 3

    buf[0] = SERVO_HEADER;
    buf[1] = SERVO_HEADER;
    buf[2] = id;
    buf[3] = len;
    buf[4] = cmd;
    for (uint8_t i = 0; i < param_len; i++) {
        buf[5 + i] = params[i];
    }

    // checksum = ~(id + len + cmd + sum(params))
    uint16_t sum = 0;
    for (uint8_t i = 2; i < (uint8_t)(len + 2u); i++) {
        sum += buf[i];
    }
    buf[5 + param_len] = (uint8_t)(~sum);

    uint8_t total = param_len + 6u;   // header(2) + id + len + cmd + params + chk

    // half-duplex: clear rx, send, then swallow our own echo
    ring_buf_reset(&servo_rx_rb);
    for (uint8_t i = 0; i < total; i++) {
        uart_poll_out(uart, buf[i]);
    }
    uint8_t echo;
    for (uint8_t i = 0; i < total; i++) {
        (void)rx_byte(&echo);
    }
}

// read a response into params[]. returns num params, or <0 on timeout/bad frame
static int servo_read_response(uint8_t *params, uint8_t max_params)
{
    uint8_t b, id, len, cmd;
    int sync = 0;

    // sync on 0x55 0x55
    while (sync < 2) {
        if (rx_byte(&b) != 0) {
            return -ETIMEDOUT;
        }
        sync = (b == SERVO_HEADER) ? sync + 1 : 0;
    }

    if (rx_byte(&id) || rx_byte(&len) || rx_byte(&cmd)) {
        return -ETIMEDOUT;
    }
    if (len < 3u) {
        return -EIO;
    }

    uint8_t nparams = len - 3u;
    if (nparams > max_params) {
        return -EIO;
    }
    for (uint8_t i = 0; i < nparams; i++) {
        if (rx_byte(&params[i])) {
            return -ETIMEDOUT;
        }
    }

    uint8_t chk;
    if (rx_byte(&chk)) {
        return -ETIMEDOUT;
    }

    uint16_t sum = id + len + cmd;
    for (uint8_t i = 0; i < nparams; i++) {
        sum += params[i];
    }
    if ((uint8_t)(~sum) != chk) {
        return -EIO;
    }
    return nparams;
}

void servo_move(uint8_t id, float angle_deg, uint16_t time_ms)
{
    int ticks = DEG_TO_TICKS(angle_deg);
    uint8_t p[4] = {
        (uint8_t)(ticks & 0xFF),
        (uint8_t)((ticks >> 8) & 0xFF),
        (uint8_t)(time_ms & 0xFF),
        (uint8_t)((time_ms >> 8) & 0xFF),
    };
    servo_send(id, CMD_MOVE, p, 4);
}

void servo_move_wait(uint8_t id, float angle_deg, uint16_t time_ms)
{
    int ticks = DEG_TO_TICKS(angle_deg);
    uint8_t p[4] = {
        (uint8_t)(ticks & 0xFF),
        (uint8_t)((ticks >> 8) & 0xFF),
        (uint8_t)(time_ms & 0xFF),
        (uint8_t)((time_ms >> 8) & 0xFF),
    };
    servo_send(id, CMD_MOVE_WAIT, p, 4);
}

void servo_move_start(uint8_t id)
{
    servo_send(id, CMD_MOVE_START, NULL, 0);
}

void servo_stop(uint8_t id)
{
    servo_send(id, CMD_MOVE_STOP, NULL, 0);
}

void servo_set_torque(uint8_t id, bool enable)
{
    uint8_t p = enable ? 1u : 0u;
    servo_send(id, CMD_LOAD_UNLOAD, &p, 1);
}

void servo_set_id(uint8_t id, uint8_t new_id)
{
    servo_send(id, CMD_SET_ID, &new_id, 1);
}

float servo_read_pos(uint8_t id)
{
    servo_send(id, CMD_POS_READ, NULL, 0);

    uint8_t p[4];
    int n = servo_read_response(p, sizeof(p));
    if (n < 2) {
        return NAN;
    }

    int16_t ticks = (int16_t)((uint16_t)p[0] | ((uint16_t)p[1] << 8));
    return TICKS_TO_DEG(ticks);
}
```
